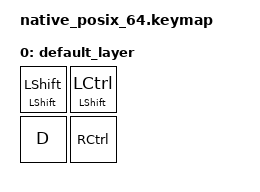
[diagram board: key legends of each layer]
#include <dt-bindings/zmk/keys.h>
#include <behaviors.dtsi>
#include <dt-bindings/zmk/kscan_mock.h>

/ {
    behaviors {
        ht_bal: behavior_hold_tap_balanced {
            compatible = "zmk,behavior-hold-tap";
            label = "HOLD_TAP_BALANCED";
            #binding-cells = <2>;
            flavor = "balanced";
            tapping-term-ms = <100>;
            quick-tap-ms = <200>;
            bindings = <&kp>, <&sk>;
            hold-while-undecided;
            hold-while-undecided-linger;
        };
    };

    keymap {
        compatible = "zmk,keymap";
        label ="Default keymap";

        default_layer {
            bindings = <
                &ht_bal LEFT_SHIFT LEFT_SHIFT &ht_bal LEFT_SHIFT LEFT_CONTROL
                &kp D &kp RIGHT_CONTROL>;
        };
    };
};

&kscan {
    events = <
        ZMK_MOCK_PRESS(0,0,10)
        ZMK_MOCK_RELEASE(0,0,10)
    >;
};
